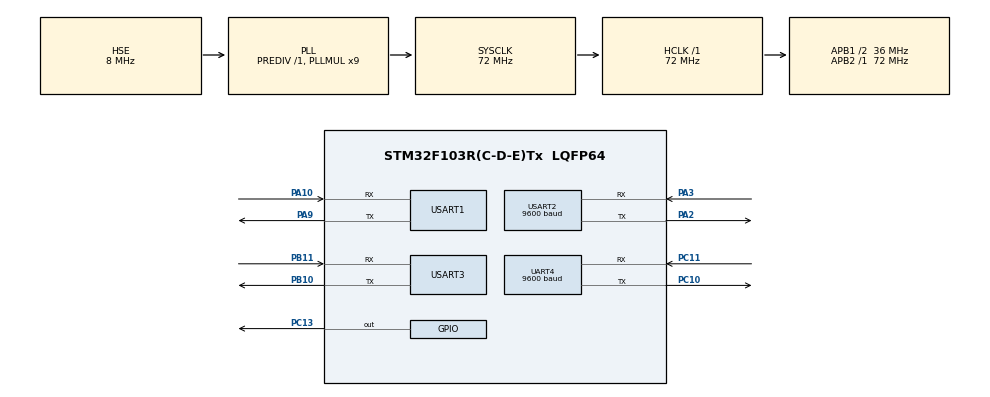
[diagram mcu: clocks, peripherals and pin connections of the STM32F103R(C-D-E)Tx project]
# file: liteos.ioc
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Dma.Request0=USART1_RX
Dma.Request1=USART2_RX
Dma.Request2=UART4_RX
Dma.Request3=UART4_TX
Dma.Request4=USART2_TX
Dma.Request5=USART3_RX
Dma.UART4_RX.2.Direction=DMA_PERIPH_TO_MEMORY
Dma.UART4_RX.2.Instance=DMA2_Channel3
Dma.UART4_RX.2.MemDataAlignment=DMA_MDATAALIGN_BYTE
Dma.UART4_RX.2.MemInc=DMA_MINC_ENABLE
Dma.UART4_RX.2.Mode=DMA_NORMAL
Dma.UART4_RX.2.PeriphDataAlignment=DMA_PDATAALIGN_BYTE
Dma.UART4_RX.2.PeriphInc=DMA_PINC_DISABLE
Dma.UART4_RX.2.Priority=DMA_PRIORITY_LOW
Dma.UART4_TX.3.Direction=DMA_MEMORY_TO_PERIPH
Dma.UART4_TX.3.Instance=DMA2_Channel5
Dma.UART4_TX.3.MemDataAlignment=DMA_MDATAALIGN_BYTE
Dma.UART4_TX.3.MemInc=DMA_MINC_ENABLE
Dma.UART4_TX.3.Mode=DMA_NORMAL
Dma.UART4_TX.3.PeriphDataAlignment=DMA_PDATAALIGN_BYTE
Dma.UART4_TX.3.PeriphInc=DMA_PINC_DISABLE
Dma.UART4_TX.3.Priority=DMA_PRIORITY_LOW
Dma.USART1_RX.0.Direction=DMA_PERIPH_TO_MEMORY
Dma.USART1_RX.0.Instance=DMA1_Channel5
Dma.USART1_RX.0.MemDataAlignment=DMA_MDATAALIGN_BYTE
Dma.USART1_RX.0.MemInc=DMA_MINC_ENABLE
Dma.USART1_RX.0.Mode=DMA_NORMAL
Dma.USART1_RX.0.PeriphDataAlignment=DMA_PDATAALIGN_BYTE
Dma.USART1_RX.0.PeriphInc=DMA_PINC_DISABLE
Dma.USART1_RX.0.Priority=DMA_PRIORITY_LOW
Dma.USART2_RX.1.Direction=DMA_PERIPH_TO_MEMORY
Dma.USART2_RX.1.Instance=DMA1_Channel6
Dma.USART2_RX.1.MemDataAlignment=DMA_MDATAALIGN_BYTE
Dma.USART2_RX.1.MemInc=DMA_MINC_ENABLE
Dma.USART2_RX.1.Mode=DMA_NORMAL
Dma.USART2_RX.1.PeriphDataAlignment=DMA_PDATAALIGN_BYTE
Dma.USART2_RX.1.PeriphInc=DMA_PINC_DISABLE
Dma.USART2_RX.1.Priority=DMA_PRIORITY_LOW
Dma.USART2_TX.4.Direction=DMA_MEMORY_TO_PERIPH
Dma.USART2_TX.4.Instance=DMA1_Channel7
Dma.USART2_TX.4.MemDataAlignment=DMA_MDATAALIGN_BYTE
Dma.USART2_TX.4.MemInc=DMA_MINC_ENABLE
Dma.USART2_TX.4.Mode=DMA_NORMAL
Dma.USART2_TX.4.PeriphDataAlignment=DMA_PDATAALIGN_BYTE
Dma.USART2_TX.4.PeriphInc=DMA_PINC_DISABLE
Dma.USART2_TX.4.Priority=DMA_PRIORITY_LOW
Dma.USART3_RX.5.Direction=DMA_PERIPH_TO_MEMORY
Dma.USART3_RX.5.Instance=DMA1_Channel3
Dma.USART3_RX.5.MemDataAlignment=DMA_MDATAALIGN_BYTE
Dma.USART3_RX.5.MemInc=DMA_MINC_ENABLE
Dma.USART3_RX.5.Mode=DMA_NORMAL
Dma.USART3_RX.5.PeriphDataAlignment=DMA_PDATAALIGN_BYTE
Dma.USART3_RX.5.PeriphInc=DMA_PINC_DISABLE
Dma.USART3_RX.5.Priority=DMA_PRIORITY_LOW
Mcu.Family=STM32F1
Mcu.Name=STM32F103R(C-D-E)Tx
Mcu.Package=LQFP64
NVIC.DMA1_Channel3_IRQn=true\:0\:0\:false\:false\:true\:false\:true\:true
NVIC.DMA1_Channel5_IRQn=true\:0\:0\:false\:false\:true\:false\:true\:true
NVIC.DMA1_Channel6_IRQn=true\:0\:0\:false\:false\:true\:false\:true\:true
NVIC.DMA1_Channel7_IRQn=true\:0\:0\:false\:false\:true\:false\:true\:true
NVIC.DMA2_Channel3_IRQn=true\:0\:0\:false\:false\:true\:false\:true\:true
NVIC.DMA2_Channel4_5_IRQn=true\:0\:0\:false\:false\:true\:false\:true\:true
NVIC.PriorityGroup=NVIC_PRIORITYGROUP_4
NVIC.UART4_IRQn=true\:0\:0\:false\:false\:true\:true\:true\:true
NVIC.USART1_IRQn=true\:0\:0\:false\:false\:true\:true\:true\:true
NVIC.USART2_IRQn=true\:0\:0\:false\:false\:true\:true\:true\:true
NVIC.USART3_IRQn=true\:0\:0\:false\:false\:true\:true\:true\:true
PA10.Mode=Asynchronous
PA10.Signal=USART1_RX
PA13.Mode=Serial_Wire
PA13.Signal=SYS_JTMS-SWDIO
PA14.Mode=Serial_Wire
PA14.Signal=SYS_JTCK-SWCLK
PA2.Mode=Asynchronous
PA2.Signal=USART2_TX
PA3.Mode=Asynchronous
PA3.Signal=USART2_RX
PA9.Mode=Asynchronous
PA9.Signal=USART1_TX
PB10.Mode=Asynchronous
PB10.Signal=USART3_TX
PB11.Mode=Asynchronous
PB11.Signal=USART3_RX
PC10.Mode=Asynchronous
PC10.Signal=UART4_TX
PC11.Mode=Asynchronous
PC11.Signal=UART4_RX
PC13-TAMPER-RTC.Signal=GPIO_Output
PC14-OSC32_IN.Mode=LSE-External-Oscillator
PC14-OSC32_IN.Signal=RCC_OSC32_IN
PC15-OSC32_OUT.Mode=LSE-External-Oscillator
PC15-OSC32_OUT.Signal=RCC_OSC32_OUT
PD0-OSC_IN.Mode=HSE-External-Oscillator
PD0-OSC_IN.Signal=RCC_OSC_IN
PD1-OSC_OUT.Mode=HSE-External-Oscillator
PD1-OSC_OUT.Signal=RCC_OSC_OUT
ProjectManager.HeapSize=0x200
ProjectManager.StackSize=0x400
ProjectManager.TargetToolchain=MDK-ARM V5.32
RCC.AHBFreq_Value=72000000
RCC.APB1CLKDivider=RCC_HCLK_DIV2
RCC.APB1Freq_Value=36000000
RCC.APB1TimFreq_Value=72000000
RCC.APB2Freq_Value=72000000
RCC.APB2TimFreq_Value=72000000
RCC.HCLKFreq_Value=72000000
RCC.PLLMUL=RCC_PLL_MUL9
RCC.PLLSourceVirtual=RCC_PLLSOURCE_HSE
RCC.SYSCLKFreq_VALUE=72000000
RCC.SYSCLKSource=RCC_SYSCLKSOURCE_PLLCLK
RCC.USBFreq_Value=72000000
UART4.BaudRate=9600
UART4.VirtualMode=Asynchronous
USART1.VirtualMode=VM_ASYNC
USART2.BaudRate=9600
USART2.VirtualMode=VM_ASYNC
USART3.VirtualMode=VM_ASYNC
board=custom

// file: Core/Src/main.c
/* USER CODE BEGIN Header */
/**
  ******************************************************************************
  * @file           : main.c
  * @brief          : Main program body
  ******************************************************************************
  * @attention
  *
  * Copyright (c) 2025 STMicroelectronics.
  * All rights reserved.
  *
  * This software is licensed under terms that can be found in the LICENSE file
  * in the root directory of this software component.
  * If no LICENSE file comes with this software, it is provided AS-IS.
  *
  ******************************************************************************
  */
/* USER CODE END Header */
#include "main.h"
#include "dma.h"
#include "usart.h"
#include "gpio.h"

/* USER CODE BEGIN Includes */

#include <stdio.h>
#include <string.h>
#include "los_task.h"

/* USER CODE END Includes */

void SystemClock_Config(void);
/* USER CODE BEGIN PFP */
static void send_to_lcd(void);
/* USER CODE END PFP */

/* USER CODE BEGIN 0 */

uint8_t cmdBuf[8]={0x01, 0x06, 0x00, 0x0d, 0x00, 0x00, 0x00, 0x00};
uint8_t dispCmdBuf[32];
uint16_t index_cmd;
uint8_t  voiceFlag;
/*
  CRC16的C语言算法：
*/
#define PRESET_VALUE 0xFFFF
#define POLYNOMIAL  0xa001   // RFID读写器为  0x8408

static uint16_t uiCrc16Cal(uint8_t *pucY, uint8_t ucX)
{
	uint8_t ucI,ucJ;
	uint16_t  uiCrcValue = PRESET_VALUE;

   	for(ucI = 0; ucI < ucX; ucI++)
	   {
		   uiCrcValue = uiCrcValue ^ (pucY[ucI] & 0xff);
	  	   for(ucJ = 0; ucJ < 8; ucJ++)
	   	  {
		 	if(uiCrcValue & 0x0001)
		   	{
		    	uiCrcValue = (uiCrcValue >> 1) ^ POLYNOMIAL;
		   	}
		 	else
		   	{
		    	uiCrcValue = (uiCrcValue >> 1);
		   	}
		}
 	}
    return uiCrcValue;
}

/*
	通过串口发送到显示屏
*/
static void send_to_lcd(void)
{
	dispCmdBuf[index_cmd] = 0xff;
	dispCmdBuf[index_cmd+1] = 0xff;
	dispCmdBuf[index_cmd+2] = 0xff;
	HAL_UART_Transmit_DMA(&huart2, dispCmdBuf, index_cmd+3);
}

static void VoiceTask(void)
{
	uint16_t crc16;

	cmdBuf[0] = 0x01;
	cmdBuf[1] = 0x06;
	cmdBuf[2] = 0x00;
	cmdBuf[3] = 0x0d;
	cmdBuf[4] = 0x00;
	cmdBuf[5] = 0x00;

  while(1) {

    LOS_TaskDelay(100);

		if(Uart3Rx.RxFlag){
        Uart3Rx.RxFlag = 0;
				if (strstr((char *)&Uart3Rx.RxBuff[16],"openled") != NULL)
				{
					cmdBuf[4] = 0xff;
					crc16 = uiCrc16Cal(cmdBuf, 6);
					cmdBuf[6] = crc16 & 0xff;
					cmdBuf[7] = (crc16 >> 8) & 0xff;
					//HAL_UART_Transmit_DMA(&huart4, cmdBuf, 8);
					voiceFlag = 1;

				}
				else
				{
					if (strstr((char *)&Uart3Rx.RxBuff[16],"closeled") != NULL)
					{
							cmdBuf[4] = 0x00;
							crc16 = uiCrc16Cal(cmdBuf, 6);
							cmdBuf[6] = crc16 & 0xff;
							cmdBuf[7] = (crc16 >> 8) & 0xff;
							//HAL_UART_Transmit_DMA(&huart4, cmdBuf, 8);
							voiceFlag = 1;
					}
				}
		}
  }
}

#define CIRCUIT_BREAKER_ADDR 1
#define TEMP_HUMI_ADDR 			 8

typedef struct{
	int16_t temp;
	uint16_t humi;
	uint16_t volty;
	uint16_t current;
} SENSOR_DATA;

SENSOR_DATA sensor;

static uint8_t func03[]={0x01,0x04,0x00,0x00,0x00,0x00,0x00,0x00};
static uint8_t addrSet[]={CIRCUIT_BREAKER_ADDR,TEMP_HUMI_ADDR};

static void SensorTask(void)
{
	uint8_t devAddr;
	uint8_t addrIndex;
	uint16_t crc16;

	addrIndex = 0;
  while(1) {
			if (voiceFlag == 1)
			{
				voiceFlag = 0;
				HAL_UART_Transmit_DMA(&huart4, cmdBuf, 8);
				LOS_TaskDelay(100);
			}

			devAddr = addrSet[addrIndex];
			func03[0] = devAddr;
			switch(devAddr)
			{
				case CIRCUIT_BREAKER_ADDR:
					func03[1] = 0x04;
					func03[3] = 0x08;
					func03[5] = 0x02;
					break;
				case TEMP_HUMI_ADDR:
					func03[1] = 0x03;
					func03[3] = 0x00;
					func03[5] = 0x02;
					break;
				default:
					break;
			}
			crc16 = uiCrc16Cal(func03, 6);
			func03[6] = crc16 & 0xff;
			func03[7] = (crc16 >> 8) & 0xff;
			HAL_UART_Transmit_DMA(&huart4, func03, 8);
			addrIndex += 1;
			addrIndex %= sizeof(addrSet);

			LOS_TaskDelay(300);

			if(Uart4Rx.RxFlag){
        Uart4Rx.RxFlag = 0;
				switch(Uart4Rx.RxBuff[0])
				{
					case CIRCUIT_BREAKER_ADDR:
//						HAL_GPIO_TogglePin(GPIOC, GPIO_PIN_13);
						sensor.volty = (Uart4Rx.RxBuff[3] << 8) + Uart4Rx.RxBuff[4];
						sensor.current = (Uart4Rx.RxBuff[5] << 8) + Uart4Rx.RxBuff[6];
						break;
					case TEMP_HUMI_ADDR:
						sensor.humi = (Uart4Rx.RxBuff[3] << 8) + Uart4Rx.RxBuff[4];
						sensor.temp = (Uart4Rx.RxBuff[5] << 8) + Uart4Rx.RxBuff[6];
						break;
					default:
						break;
				}
			}

			LOS_TaskDelay(500);
  }
}

static void DisplayTask(void)
{
	uint8_t pageNo, idNo, status, timeCnt;
	uint16_t crc16;

	pageNo = 0;
	status = 0;
	timeCnt = 0;

	strcpy((char*)dispCmdBuf, "page 0");
	index_cmd = 6;
	send_to_lcd();
	LOS_TaskDelay(50);

	while(1) {
		HAL_GPIO_TogglePin(GPIOC, GPIO_PIN_13);
		if(Uart2Rx.RxFlag){
        Uart2Rx.RxFlag = 0;
				switch(Uart2Rx.RxBuff[0])
				{
					case 0x65:
						pageNo = Uart2Rx.RxBuff[1];
						idNo = Uart2Rx.RxBuff[2];
						if (pageNo == 0)
							pageNo = 1;
						else
						{
							if ((pageNo == 2) && (idNo == 9))
							{
									status ^= 1;
									if (status == 1)
									{
										cmdBuf[4] = 0xff;
									}
									else
									{
										cmdBuf[4] = 0x00;
									}
									crc16 = uiCrc16Cal(cmdBuf, 6);
									cmdBuf[6] = crc16 & 0xff;
									cmdBuf[7] = (crc16 >> 8) & 0xff;
									//HAL_UART_Transmit_DMA(&huart4, cmdBuf, 8);
									voiceFlag = 1;
							}
							else
							{
								pageNo = idNo - 3;
							}
						}
						break;
					case 0x66:
						pageNo = Uart2Rx.RxBuff[1];
						break;
					case 0x1a:
						break;
					default:
						break;
			}
		}

		timeCnt += 1;

		if (timeCnt == 5)
		{
				timeCnt = 0;
				if (pageNo == 1)
				{
						index_cmd = sprintf((char*)dispCmdBuf, "x0.val=%d", sensor.temp);
						send_to_lcd();
						LOS_TaskDelay(50);

						index_cmd = sprintf((char*)dispCmdBuf, "x1.val=%d", sensor.humi);
						send_to_lcd();
						LOS_TaskDelay(50);

						index_cmd = sprintf((char*)dispCmdBuf, "x5.val=%d", sensor.volty);
						send_to_lcd();
						LOS_TaskDelay(50);

						index_cmd = sprintf((char*)dispCmdBuf, "x6.val=%d", sensor.current);
						send_to_lcd();
						LOS_TaskDelay(50);
						timeCnt = 1;
				}
	}

#if 0
		else
		{
			strcpy((char*)dispCmdBuf, "sendme");
			index_cmd = 6;
			send_to_lcd();
		}
#endif
    LOS_TaskDelay(200);

  }
}

UINT32 Voice_Task_Handle;
UINT32 Sensor_Task_Handle;
UINT32 Display_Task_Handle;

static UINT32 AppTaskCreate(void)
{
  UINT32 uwRet = LOS_OK;

  TSK_INIT_PARAM_S task_init_param;

	task_init_param.usTaskPrio = 5;
	task_init_param.pcName = "VoiceTask";
	task_init_param.pfnTaskEntry = (TSK_ENTRY_FUNC)VoiceTask;
	task_init_param.uwStackSize = 1024;
	uwRet = LOS_TaskCreate(&Voice_Task_Handle, &task_init_param);
  if (uwRet != LOS_OK)
  {
    printf("VoiceTask create failed, %X\n", uwRet);
    return uwRet;
  }

  task_init_param.usTaskPrio = 4;
	task_init_param.pcName = "SensorTask";
	task_init_param.pfnTaskEntry = (TSK_ENTRY_FUNC)SensorTask;
	task_init_param.uwStackSize = 1024;
	uwRet = LOS_TaskCreate(&Sensor_Task_Handle, &task_init_param);
  if (uwRet != LOS_OK)
  {
    printf("SensorTask create failed, %X\n", uwRet);
    return uwRet;
  }

  task_init_param.usTaskPrio = 6;
	task_init_param.pcName = "DisplayTask";
	task_init_param.pfnTaskEntry = (TSK_ENTRY_FUNC)DisplayTask;
	task_init_param.uwStackSize = 1024;
	uwRet = LOS_TaskCreate(&Display_Task_Handle, &task_init_param);
  if (uwRet != LOS_OK)
  {
    printf("DisplayTask create failed, %X\n", uwRet);
    return uwRet;
  }

	return LOS_OK;
}

/* USER CODE END 0 */

int main(void)
{

  /* MCU Configuration--------------------------------------------------------*/

  /* Reset of all peripherals, Initializes the Flash interface and the Systick. */
  HAL_Init();

  /* Configure the system clock */
  SystemClock_Config();

  /* Initialize all configured peripherals */
  MX_GPIO_Init();
  MX_DMA_Init();
  MX_USART1_UART_Init();
  MX_USART2_UART_Init();
  MX_USART3_UART_Init();
  MX_UART4_Init();
  /* USER CODE BEGIN 2 */

	voiceFlag = 0;

#if 1
  LOS_KernelInit(); // ��ʼ�� LiteOS-m �ں�
	UINT32 uwRet = AppTaskCreate(); // ��������
  if(uwRet != LOS_OK) {
      printf("LOS Creat task failed\r\n");
  }
  LOS_Start();      // ���� LiteOS-m �ں�
#endif

  /* USER CODE END 2 */

  /* Infinite loop */
  while (1)
  {

    /* USER CODE BEGIN 3 */
 		HAL_Delay(500);
		HAL_GPIO_TogglePin(GPIOC, GPIO_PIN_13);
      printf("This is output by printf!\r\n");
      if(Uart1Rx.RxFlag){
        Uart1Rx.RxFlag = 0;
        UART_SendData(USART1,Uart1Rx.RxBuff,Uart1Rx.RxLen);
      }

 }
  /* USER CODE END 3 */
}

void SystemClock_Config(void)
{
  RCC_OscInitTypeDef RCC_OscInitStruct = {0};
  RCC_ClkInitTypeDef RCC_ClkInitStruct = {0};

  /** Initializes the RCC Oscillators according to the specified parameters
  * in the RCC_OscInitTypeDef structure.
  */
  RCC_OscInitStruct.OscillatorType = RCC_OSCILLATORTYPE_HSE;
  RCC_OscInitStruct.HSEState = RCC_HSE_ON;
  RCC_OscInitStruct.HSEPredivValue = RCC_HSE_PREDIV_DIV1;
  RCC_OscInitStruct.HSIState = RCC_HSI_ON;
  RCC_OscInitStruct.PLL.PLLState = RCC_PLL_ON;
  RCC_OscInitStruct.PLL.PLLSource = RCC_PLLSOURCE_HSE;
  RCC_OscInitStruct.PLL.PLLMUL = RCC_PLL_MUL9;
  if (HAL_RCC_OscConfig(&RCC_OscInitStruct) != HAL_OK)
  {
    Error_Handler();
  }

  /** Initializes the CPU, AHB and APB buses clocks
  */
  RCC_ClkInitStruct.ClockType = RCC_CLOCKTYPE_HCLK|RCC_CLOCKTYPE_SYSCLK
                              |RCC_CLOCKTYPE_PCLK1|RCC_CLOCKTYPE_PCLK2;
  RCC_ClkInitStruct.SYSCLKSource = RCC_SYSCLKSOURCE_PLLCLK;
  RCC_ClkInitStruct.AHBCLKDivider = RCC_SYSCLK_DIV1;
  RCC_ClkInitStruct.APB1CLKDivider = RCC_HCLK_DIV2;
  RCC_ClkInitStruct.APB2CLKDivider = RCC_HCLK_DIV1;

  if (HAL_RCC_ClockConfig(&RCC_ClkInitStruct, FLASH_LATENCY_2) != HAL_OK)
  {
    Error_Handler();
  }
}

void Error_Handler(void)
{
  __disable_irq();
  while (1)
  {
  }
}
